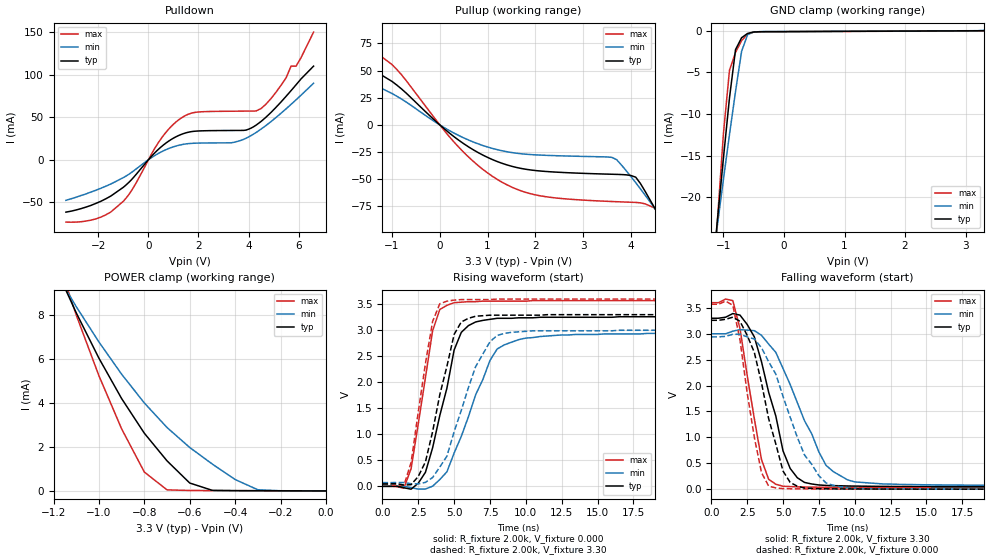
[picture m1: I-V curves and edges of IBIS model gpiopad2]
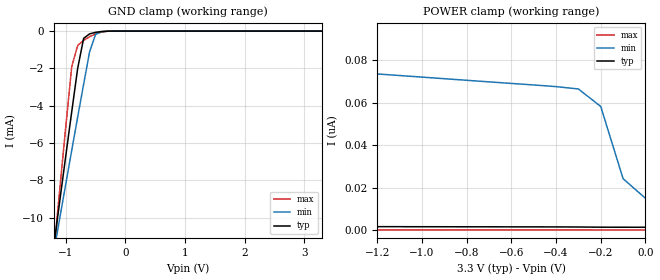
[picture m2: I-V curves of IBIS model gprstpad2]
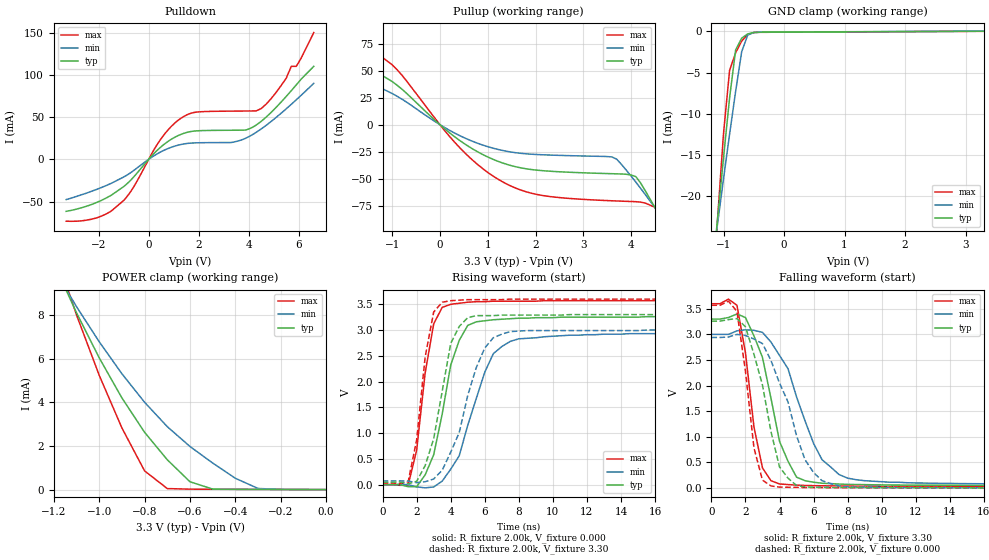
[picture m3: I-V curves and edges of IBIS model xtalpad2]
| IBIS file m323m44.ibs created by s2ibis2 version 1.1
| North Carolina State University Electronics Research Laboratory  1995
[IBIS ver]   2.1
[File name]   m323m44.ibs
[File Rev]   1.2
[Date]   April 19, 2006
[Source]   Lars Snith
[Notes]   Property of Atmel Corporation
[Disclaimer] (C) Copyright ATMEL Norway 2006 Atmel Norway makes no warranty
                 for the use of its products, other than those explicitly
                 stated in the Company's standard warranty which is detailed in
                 Atmel's Terms and Conditions located on the Company's web
                 site. The Company assumes no responsibility for any errors
                 which may appear in this document. The user is granted this
                 license only to use the IBIS model and is not granted rights
                 to sell, load, rent, lease or license the IBIS model in whole
                 or in part, or in modified form to anyone other than user.
                 User may modify the IBIS model to suit its specific
                 applications but rights to derivative works and such
                 modifications shall belong to Atmel Norway. This IBIS model is
                 provided on an \"AS IS\" basis and Atmel Norway makes
                 absolutely no warranty with respect to the information
                 contained herein.
[Copyright]   Copyright (c) 2006 by ATMEL Norway
|   Component atmega32_33_mlf44
[Component]   atmega32_33_mlf44
[Manufacturer]   Atmel Corp.
[Package]
| variable   typ   min   max
R_pkg   10.20m   9.10m   11.30m
L_pkg   73.30pH   66.40pH   80.10pH
C_pkg   0.16pF   0.15pF   0.16pF
[Pin]  signal_name   model_name   R_pin   L_pin   C_pin
1   PB5   gpiopad2
| db5  db5   dummy
| enb5 enb5   dummy
2   PB6   gpiopad2
| db6  db6   dummy
| enb6 enb6   dummy
3   PB7   gpiopad2
| db7  db7   dummy
| enb7 enb7   dummy
4   RESET   gprstpad2
5   VCC   POWER
6   GND   GND
7   XTAL2   xtalpad2
| dx2  dx2   dummy
| enx2 enx2   dummy
8   XTAL1   xtalpad2
| dx1  dx1   dummy
| enx1 enx1   dummy
9   PD0   gpiopad2
| dd0  dd0   dummy
| end0 end0   dummy
10   PD1   gpiopad2
| dd1  dd1   dummy
| end1 end1   dummy
11   PD2   gpiopad2
| dd2  dd2   dummy
| end2 end2   dummy
12   PD3   gpiopad2
| dd3  dd3   dummy
| end3 end3   dummy
13   PD4   gpiopad2
| dd4  dd4   dummy
| end4 end4   dummy
14   PD5   gpiopad2
| dd5  dd5   dummy
| end5 end5   dummy
15   PD6   gpiopad2
| dd6  dd6   dummy
| end6 end6   dummy
16   PD7   gpiopad2
| dd7  dd7   dummy
| end7 end7   dummy
17   VCC   POWER
18   GND   GND
19   PC0   gpiopad2
| dc0  dc0   dummy
| enc0 enc0   dummy
20   PC1   gpiopad2
| dc1  dc1   dummy
| enc1 enc1   dummy
21   PC2   gpiopad2
| dc2  dc2   dummy
| enc2 enc2   dummy
22   PC3   gpiopad2
| dc3  dc3   dummy
| enc3 enc3   dummy
23   PC4   gpiopad2
| dc4  dc4   dummy
| enc4 enc4   dummy
24   PC5   gpiopad2
| dc5  dc5   dummy
| enc5 enc5   dummy
25   PC6   gpiopad2
| dc6  dc6   dummy
| enc6 enc6   dummy
26   PC7   gpiopad2
| dc7  dc7   dummy
| enc7 enc7   dummy
27   AVCC   POWER
28   GND   GND
29   AREF   gpiopad2
| darefdaref   dummy
| enarfenarf   dummy
30   PA7   gpiopad2
| da7  da7   dummy
| ena7 ena7   dummy
31   PA6   gpiopad2
| da6  da6   dummy
| ena6 ena6   dummy
32   PA5   gpiopad2
| da5  da5   dummy
| ena5 ena5   dummy
33   PA4   gpiopad2
| da4  da4   dummy
| ena4 ena4   dummy
34   PA3   gpiopad2
| da3  da3   dummy
| ena3 ena3   dummy
35   PA2   gpiopad2
| da2  da2   dummy
| ena2 ena2   dummy
36   PA1   gpiopad2
| da1  da1   dummy
| ena1 ena1   dummy
37   PA0   gpiopad2
| da0  da0   dummy
| ena0 ena0   dummy
38   VCC   POWER
39   GND   GND
40   PB0   gpiopad2
| db0  db0   dummy
| enb0 enb0   dummy
41   PB1   gpiopad2
| db1  db1   dummy
| enb1 enb1   dummy
42   PB2   gpiopad2
| db2  db2   dummy
| enb2 enb2   dummy
43   PB3   gpiopad2
| db3  db3   dummy
| enb3 enb3   dummy
44   PB4   gpiopad2
| Models and submodels in the file (3): gpiopad2 (I/O), gprstpad2 (Input), xtalpad2 (I/O)
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| db4  db4   dummy
| enb4 enb4   dummy
|   Model gpiopad2
[Model]   gpiopad2
Model_type   I/O
Polarity   Non-Inverting
Enable   Active-High
Vinl =   0.99V
Vinh =   2.31V
Vmeas =   1.65V
Cref =  50.00pF
C_comp   6.41pF   6.40pF   7.00pF
[Temperature Range]   27.00   0.12k   -55.00
[Voltage Range]   3.30V   3.00V   3.60V
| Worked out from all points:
|   slope of the pulldown table from 0 to 0.495 V, typ, clamps not added: 33.6 ohm
|   slope of the pullup table from 0 to 0.495 V, typ, clamps not added: 28.9 ohm
|   GND clamp passes 1 mA (typ) near -0.71 V on its own axis
|   POWER clamp passes 1 mA (typ) near -0.66 V on its own axis
|   rising waveform, R_fixture 2.00k, V_fixture 0.000: 20-80 % time 1.59ns typ, 2.48ns min, 1.21ns max; typ from 0 V to 3.26 V
|   rising waveform, R_fixture 2.00k, V_fixture 3.30: 20-80 % time 1.58ns typ, 2.16ns min, 1.18ns max; typ from 0.048 V to 3.3 V
|   falling waveform, R_fixture 2.00k, V_fixture 3.30: 20-80 % time 1.76ns typ, 2.76ns min, 1.27ns max; typ from 3.3 V to 0.048 V
|   falling waveform, R_fixture 2.00k, V_fixture 0.000: 20-80 % time 1.68ns typ, 2.47ns min, 1.2ns max; typ from 3.26 V to 0 V
[Pulldown]
| voltage   I(typ)   I(min)   I(max)
-3.3V     -61.5mA    -47.6mA    -73.2mA
-1.9V     -48.7mA    -33.42mA   -67.3mA
-1V       -32.21mA   -20.89mA   -48.63mA
500mV     14.99mA    9.1mA      24.63mA
1.4V      30.77mA    18.2mA     50.7mA
3.4V      34.44mA    20.44mA    57.06mA
3.9V      34.87mA    25.3mA     57.19mA
4.5V      45.02mA    36.02mA    60.17mA
5.3V      67.97mA    54.71mA    87.56mA
5.7V      81.23mA    65.09mA    110mA
5.9V      88.09mA    70.45mA    110mA
6.6V      110mA      89.91mA    150mA
[Pullup]
| voltage   I(typ)   I(min)   I(max)
-3.3V     73.26mA    61.97mA    90.3mA
-2.3V     66.32mA    52.28mA    85.8mA
-1.5V     53.29mA    39.65mA    72.08mA
-900mV    36.66mA    26.4mA     51.05mA
600mV     -20.16mA   -13.88mA   -29.46mA
1.6V      -39.1mA    -26.03mA   -59mA
3.6V      -45.39mA   -29.87mA   -70.47mA
4.1V      -48.1mA    -53.2mA    -71.32mA
4.5V      -76.75mA   -76.85mA   -76.49mA
4.7V      -92.85mA   -89.15mA   -94.91mA
4.9V      -110mA     -100mA     -120mA
6.6V      -260mA     -210mA     -320mA
[GND_clamp]
| voltage   I(typ)   I(min)   I(max)
-3.3V     -210mA     -160mA     -280mA
-1.2V     -30.52mA   -29.12mA   -33.74mA
-1.1V     -22.83mA   -23.42mA   -22.9mA
-1V       -15.32mA   -17.87mA   -12.37mA
-900mV    -8.08mA    -12.48mA   -4.75mA
-800mV    -2.27mA    -7.29mA    -2.61mA
-700mV    -840uA     -2.48mA    -1.19mA
-600mV    -320uA     -460uA     -400uA
-500mV    -150uA     -160uA     -160uA
-400mV    -120uA     -110uA     -130uA
3.3V      66.98pA    52.03uA    -9.75uA
[POWER_clamp]
| voltage   I(typ)   I(min)   I(max)
-3.3V     76.44mA    60.63mA    100mA
-1.2V     10.39mA    10.14mA    11.12mA
-1.1V     8.12mA     8.4mA      8.02mA
-1V       6.05mA     6.79mA     5.25mA
-900mV    4.21mA     5.32mA     2.83mA
-800mV    2.63mA     4.01mA     860uA
-700mV    1.37mA     2.89mA     47.57uA
-600mV    360uA      1.98mA     20.4uA
-500mV    24.36uA    1.22mA     16.27uA
-400mV    12.96uA    520uA      13.01uA
-300mV    9.58uA     52.03uA    9.75uA
0V        66.98pA    1.79nA     29.01pA
[Ramp]
| variable   typ   min   max
dV/dt_r   1.95/1.54n   1.77/2.43n   2.14/1.00n
dV/dt_f   1.95/1.72n   1.76/2.77n   2.14/1.08n
R_load = 2.00k
[Rising Waveform]
R_fixture = 2.00k
V_fixture = 0.000
V_fixture_min = 0.000
V_fixture_max = 0.000
| time   V(typ)   V(min)   V(max)
0s        0V         0V         0V
1.5ns     -27.97mV   1.85mV     -34.57mV
2ns       -54.37mV   -25.99mV   340mV
3ns       270mV      -51.91mV   2.09V
3.5ns     740mV      2.48mV     2.99V
4.5ns     1.89V      280mV      3.48V
5.5ns     2.96V      960mV      3.54V
7.5ns     3.21V      2.42V      3.56V
8.5ns     3.23V      2.72V      3.56V
25ns      3.26V      2.94V      3.57V
[Rising Waveform]
R_fixture = 2.00k
V_fixture = 3.30
V_fixture_min = 3.00
V_fixture_max = 3.60
| time   V(typ)   V(min)   V(max)
0s        47.89mV    71.43mV    31.59mV
1.5ns     24.5mV     72.55mV    19.08mV
2ns       31.99mV    49.91mV    460mV
3ns       470mV      76.12mV    2.36V
3.5ns     1.05V      170mV      3.17V
4ns       1.76V      370mV      3.51V
5.5ns     3.16V      1.46V      3.59V
6.5ns     3.27V      2.3V       3.59V
8ns       3.29V      2.9V       3.6V
25ns      3.3V       3V         3.6V
[Falling Waveform]
R_fixture = 2.00k
V_fixture = 3.30
V_fixture_min = 3.00
V_fixture_max = 3.60
| time   V(typ)   V(min)   V(max)
0s        3.3V       3V         3.6V
1.5ns     3.39V      3.05V      3.64V
2.5ns     3.18V      3.07V      2.2V
3.5ns     2.46V      2.97V      570mV
4.5ns     1.41V      2.64V      94.61mV
5ns       740mV      2.33V      56.59mV
6ns       220mV      1.67V      45.22mV
8ns       72.07mV    460mV      35.96mV
9.5ns     61.72mV    180mV      33.86mV
25ns      47.95mV    72.57mV    31.6mV
[Falling Waveform]
R_fixture = 2.00k
V_fixture = 0.000
V_fixture_min = 0.000
V_fixture_max = 0.000
| time   V(typ)   V(min)   V(max)
0s        3.26V      2.94V      3.57V
1.5ns     3.32V      2.99V      3.55V
3ns       2.64V      2.9V       1V
3.5ns     2.05V      2.73V      320mV
4ns       1.36V      2.46V      58.92mV
5ns       350mV      1.79V      10.54mV
5.5ns     130mV      1.39V      7.9mV
6.5ns     22.35mV    660mV      4.82mV
8ns       7.09mV     120mV      2.36mV
25ns      36.35uV    290uV      3.55uV
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|   Model gprstpad2
[Model]   gprstpad2
Model_type   Input
Polarity   Non-Inverting
Vinl =   0.99V
Vinh =   2.31V
C_comp   1.15pF   0.77pF   1.38pF
[Temperature Range]   27.00   0.12k   -55.00
[Voltage Range]   3.30V   3.00V   3.60V
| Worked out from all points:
|   GND clamp passes 1 mA (typ) near -0.74 V on its own axis
[GND_clamp]
| voltage   I(typ)   I(min)   I(max)
-3.3V     -66.68mA   -52.75mA   -90.12mA
-1.2V     -11.53mA   -11.86mA   -11.87mA
-1.1V     -9.1mA     -10.02mA   -8.47mA
-1V       -6.7mA     -8.2mA     -5.14mA
-900mV    -4.33mA    -6.4mA     -1.91mA
-800mV    -2mA       -4.61mA    -770uA
-700mV    -390uA     -2.85mA    -500uA
-600mV    -150uA     -1.11mA    -300uA
-500mV    -67.58uA   -180uA     -150uA
-400mV    -22.8uA    -32.09uA   -55.94uA
-200mV    -460nA     -810nA     -580nA
3.3V      1.49nA     66.54nA    210pA
[POWER_clamp]
| voltage   I(typ)   I(min)   I(max)
-3.3V     1.17uA     1.54uA     930nA
-3V       250nA      580nA      100nA
-2.9V     140nA      410nA      40.92nA
-2.8V     72.73nA    300nA      15.89nA
-2.7V     38.37nA    220nA      6nA
-2.6V     20.36nA    170nA      2.3nA
-2.2V     2.98nA     92.8nA     310pA
-1.8V     1.92nA     79.4nA     270pA
-300mV    1.61nA     66.54nA    230pA
-200mV    1.52nA     58.31nA    220pA
-100mV    1.5nA      24.34nA    220pA
0V        1.49nA     15.11nA    220pA
|   Model xtalpad2
[Model]   xtalpad2
Model_type   I/O
Polarity   Non-Inverting
Enable   Active-High
Vinl =   0.99V
Vinh =   2.31V
Vmeas =   1.65V
Cref =  50.00pF
C_comp   3.87pF   3.86pF   4.46pF
[Temperature Range]   27.00   0.12k   -55.00
[Voltage Range]   3.30V   3.00V   3.60V
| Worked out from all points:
|   slope of the pulldown table from 0 to 0.495 V, typ, clamps not added: 33.6 ohm
|   slope of the pullup table from 0 to 0.495 V, typ, clamps not added: 28.9 ohm
|   GND clamp passes 1 mA (typ) near -0.71 V on its own axis
|   POWER clamp passes 1 mA (typ) near -0.66 V on its own axis
|   rising waveform, R_fixture 2.00k, V_fixture 0.000: 20-80 % time 1.25ns typ, 1.72ns min, 846ps max; typ from 0 V to 3.26 V
|   rising waveform, R_fixture 2.00k, V_fixture 3.30: 20-80 % time 1.14ns typ, 1.65ns min, 810ps max; typ from 0.048 V to 3.3 V
|   falling waveform, R_fixture 2.00k, V_fixture 3.30: 20-80 % time 1.39ns typ, 1.99ns min, 910ps max; typ from 3.3 V to 0.048 V
|   falling waveform, R_fixture 2.00k, V_fixture 0.000: 20-80 % time 1.32ns typ, 1.8ns min, 799ps max; typ from 3.26 V to 0 V
[Pulldown]
| voltage   I(typ)   I(min)   I(max)
-3.3V     -61.5mA    -47.6mA    -73.2mA
-1.9V     -48.7mA    -33.42mA   -67.3mA
-1V       -32.21mA   -20.89mA   -48.63mA
500mV     14.99mA    9.1mA      24.63mA
1.4V      30.77mA    18.2mA     50.7mA
3.4V      34.44mA    20.44mA    57.06mA
3.9V      34.87mA    25.3mA     57.19mA
4.5V      45.02mA    36.02mA    60.17mA
5.3V      67.97mA    54.71mA    87.56mA
5.7V      81.23mA    65.09mA    110mA
5.9V      88.09mA    70.45mA    110mA
6.6V      110mA      89.91mA    150mA
[Pullup]
| voltage   I(typ)   I(min)   I(max)
-3.3V     73.26mA    61.97mA    90.3mA
-2.3V     66.32mA    52.28mA    85.8mA
-1.5V     53.29mA    39.65mA    72.08mA
-900mV    36.66mA    26.4mA     51.05mA
600mV     -20.16mA   -13.88mA   -29.46mA
1.6V      -39.1mA    -26.03mA   -59mA
3.6V      -45.39mA   -29.87mA   -70.47mA
4.1V      -48.1mA    -53.2mA    -71.32mA
4.5V      -76.75mA   -76.85mA   -76.49mA
4.7V      -92.85mA   -89.15mA   -94.91mA
4.9V      -110mA     -100mA     -120mA
6.6V      -260mA     -210mA     -320mA
[GND_clamp]
| voltage   I(typ)   I(min)   I(max)
-3.3V     -210mA     -160mA     -280mA
-1.2V     -30.52mA   -29.12mA   -33.74mA
-1.1V     -22.83mA   -23.42mA   -22.9mA
-1V       -15.32mA   -17.87mA   -12.37mA
-900mV    -8.08mA    -12.48mA   -4.75mA
-800mV    -2.27mA    -7.29mA    -2.61mA
-700mV    -840uA     -2.48mA    -1.19mA
-600mV    -320uA     -460uA     -400uA
-500mV    -150uA     -160uA     -160uA
-400mV    -120uA     -110uA     -130uA
3.3V      66.98pA    52.03uA    -9.75uA
[POWER_clamp]
| voltage   I(typ)   I(min)   I(max)
-3.3V     76.44mA    60.63mA    100mA
-1.2V     10.39mA    10.14mA    11.12mA
-1.1V     8.12mA     8.4mA      8.02mA
-1V       6.05mA     6.79mA     5.25mA
-900mV    4.21mA     5.32mA     2.83mA
-800mV    2.63mA     4.01mA     860uA
-700mV    1.37mA     2.89mA     47.57uA
-600mV    360uA      1.98mA     20.4uA
-500mV    24.36uA    1.22mA     16.27uA
-400mV    12.96uA    520uA      13.01uA
-300mV    9.58uA     52.03uA    9.75uA
0V        66.98pA    1.79nA     29.01pA
[Ramp]
| variable   typ   min   max
dV/dt_r   1.95/1.14n   1.77/1.80n   2.14/0.73n
dV/dt_f   1.95/1.26n   1.76/2.03n   2.14/0.78n
R_load = 2.00k
[Rising Waveform]
R_fixture = 2.00k
V_fixture = 0.000
V_fixture_min = 0.000
V_fixture_max = 0.000
| time   V(typ)   V(min)   V(max)
0s        0V         0V         0V
1.5ns     -40.41mV   -240uV     -10.65mV
2ns       -39.27mV   -42.51mV   670mV
3ns       580mV      -45.05mV   3.12V
3.5ns     1.37V      68.43mV    3.44V
4ns       2.32V      300mV      3.5V
5ns       3.09V      1.15V      3.54V
6.5ns     3.2V       2.54V      3.56V
7.5ns     3.22V      2.78V      3.56V
25ns      3.26V      2.94V      3.57V
[Rising Waveform]
R_fixture = 2.00k
V_fixture = 3.30
V_fixture_min = 3.00
V_fixture_max = 3.60
| time   V(typ)   V(min)   V(max)
0s        47.89mV    71.43mV    31.59mV
1.5ns     16.25mV    70.37mV    56.11mV
2ns       64.55mV    38.52mV    870mV
2.5ns     370mV      56.68mV    2.48V
3ns       890mV      110mV      3.35V
3.5ns     1.81V      280mV      3.54V
4.5ns     3.07V      1.01V      3.58V
5.5ns     3.28V      2.27V      3.59V
7ns       3.29V      2.92V      3.59V
25ns      3.3V       3V         3.6V
[Falling Waveform]
R_fixture = 2.00k
V_fixture = 3.30
V_fixture_min = 3.00
V_fixture_max = 3.60
| time   V(typ)   V(min)   V(max)
0s        3.3V       3V         3.6V
1.5ns     3.4V       3.07V      3.57V
2.5ns     2.97V      3.08V      1.19V
3ns       2.55V      3.04V      390mV
3.5ns     1.75V      2.85V      140mV
4ns       910mV      2.59V      76.11mV
5ns       210mV      1.78V      53.01mV
6.5ns     90.44mV    550mV      40.54mV
8ns       68.27mV    190mV      35.68mV
25ns      47.95mV    72.38mV    31.6mV
[Falling Waveform]
R_fixture = 2.00k
V_fixture = 0.000
V_fixture_min = 0.000
V_fixture_max = 0.000
| time   V(typ)   V(min)   V(max)
0s        3.26V      2.94V      3.57V
1.5ns     3.31V      3V         3.45V
2.5ns     2.61V      2.91V      780mV
3ns       2.01V      2.82V      150mV
3.5ns     1.1V       2.49V      37.68mV
4ns       410mV      2.05V      14.5mV
4.5ns     190mV      1.68V      11.81mV
5.5ns     19.93mV    550mV      6.71mV
6.5ns     11.18mV    140mV      4.1mV
25ns      31.43uV    250uV      440nV
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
